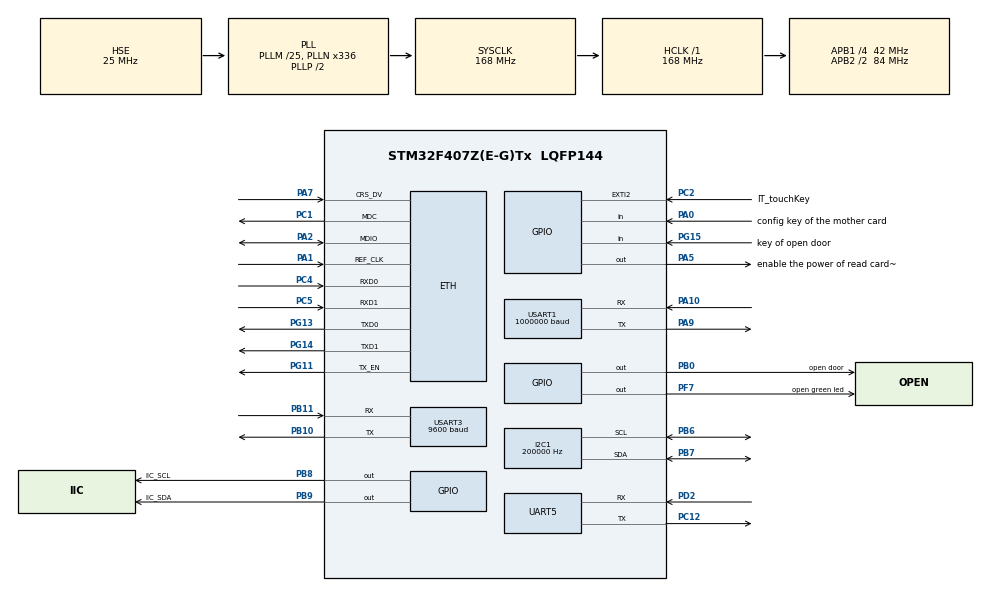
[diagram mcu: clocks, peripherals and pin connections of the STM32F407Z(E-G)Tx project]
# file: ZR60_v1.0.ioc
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Dma.Request0=UART5_RX
Dma.Request1=UART5_TX
Dma.Request2=USART3_RX
Dma.Request3=USART3_TX
Dma.UART5_RX.0.Direction=DMA_PERIPH_TO_MEMORY
Dma.UART5_RX.0.FIFOMode=DMA_FIFOMODE_DISABLE
Dma.UART5_RX.0.Instance=DMA1_Stream0
Dma.UART5_RX.0.MemDataAlignment=DMA_MDATAALIGN_BYTE
Dma.UART5_RX.0.MemInc=DMA_MINC_ENABLE
Dma.UART5_RX.0.Mode=DMA_CIRCULAR
Dma.UART5_RX.0.PeriphDataAlignment=DMA_PDATAALIGN_BYTE
Dma.UART5_RX.0.PeriphInc=DMA_PINC_DISABLE
Dma.UART5_RX.0.Priority=DMA_PRIORITY_LOW
Dma.UART5_TX.1.Direction=DMA_MEMORY_TO_PERIPH
Dma.UART5_TX.1.FIFOMode=DMA_FIFOMODE_DISABLE
Dma.UART5_TX.1.Instance=DMA1_Stream7
Dma.UART5_TX.1.MemDataAlignment=DMA_MDATAALIGN_BYTE
Dma.UART5_TX.1.MemInc=DMA_MINC_ENABLE
Dma.UART5_TX.1.Mode=DMA_NORMAL
Dma.UART5_TX.1.PeriphDataAlignment=DMA_PDATAALIGN_BYTE
Dma.UART5_TX.1.PeriphInc=DMA_PINC_DISABLE
Dma.UART5_TX.1.Priority=DMA_PRIORITY_LOW
Dma.USART3_RX.2.Direction=DMA_PERIPH_TO_MEMORY
Dma.USART3_RX.2.FIFOMode=DMA_FIFOMODE_DISABLE
Dma.USART3_RX.2.Instance=DMA1_Stream1
Dma.USART3_RX.2.MemDataAlignment=DMA_MDATAALIGN_BYTE
Dma.USART3_RX.2.MemInc=DMA_MINC_ENABLE
Dma.USART3_RX.2.Mode=DMA_CIRCULAR
Dma.USART3_RX.2.PeriphDataAlignment=DMA_PDATAALIGN_BYTE
Dma.USART3_RX.2.PeriphInc=DMA_PINC_DISABLE
Dma.USART3_RX.2.Priority=DMA_PRIORITY_LOW
Dma.USART3_TX.3.Direction=DMA_MEMORY_TO_PERIPH
Dma.USART3_TX.3.FIFOMode=DMA_FIFOMODE_DISABLE
Dma.USART3_TX.3.Instance=DMA1_Stream3
Dma.USART3_TX.3.MemDataAlignment=DMA_MDATAALIGN_BYTE
Dma.USART3_TX.3.MemInc=DMA_MINC_ENABLE
Dma.USART3_TX.3.Mode=DMA_NORMAL
Dma.USART3_TX.3.PeriphDataAlignment=DMA_PDATAALIGN_BYTE
Dma.USART3_TX.3.PeriphInc=DMA_PINC_DISABLE
Dma.USART3_TX.3.Priority=DMA_PRIORITY_LOW
ETH.MACAddr=00\:80\:E1\:A8\:EE\:01
ETH.MediaInterface=ETH_MEDIA_INTERFACE_RMII
ETH.PHY_DUPLEX_STATUS=0x0010
ETH.PHY_Name_RMII=userPHY
ETH.PHY_SPEED_STATUS=0x0004
ETH.PHY_SR=31
ETH.PHY_User_Name=LAN8720
ETH.PhyAddress=0
FREERTOS.Tasks01=lwip_task,-2,1024,StartLwipTask,Default,NULL,Dynamic,NULL,NULL;zr60_Task,0,1024,StartZr60FuncTask,Default,NULL,Dynamic,NULL,NULL;Task_5ms,1,512,Start_5msTask,Default,NULL,Dynamic,NULL,NULL;myTask05,0,512,Start_20msTask,Default,NULL,Dynamic,NULL,NULL;https_Task,0,1024,vTaskhttps,Default,NULL,Dynamic,NULL,NULL;FeedDog,3,128,vTaskFeedDog,Default,NULL,Dynamic,NULL,NULL
FREERTOS.configTOTAL_HEAP_SIZE=25360
I2C1.ClockSpeed=200000
I2C1.DutyCycle=I2C_DUTYCYCLE_16_9
I2C1.GeneralCallMode=I2C_GENERALCALL_DISABLE
I2C1.I2C_Mode=I2C_Fast
I2C1.OwnAddress=0x6E
IWDG.Prescaler=IWDG_PRESCALER_64
IWDG.Reload=625
LWIP.GATEWAY_ADDRESS=172.016.001.001
LWIP.IP_ADDRESS=172.016.001.181
LWIP.LWIP_DHCP=1
LWIP.LWIP_DNS=1
LWIP.LWIP_ICMP=1
LWIP.LWIP_IPV6=0
LWIP.LWIP_NETIF_LINK_CALLBACK=1
LWIP.LWIP_NETIF_STATUS_CALLBACK=1
LWIP.MEMP_NUM_PBUF=16
LWIP.MEMP_NUM_RAW_PCB=12
LWIP.MEMP_NUM_TCP_PCB_LISTEN=2
LWIP.MEMP_NUM_TCP_SEG=40
LWIP.MEMP_NUM_UDP_PCB=10
LWIP.MEM_SIZE=21760
LWIP.NETMASK_ADDRESS=255.255.255.000
LWIP.PBUF_POOL_BUFSIZE=1360
LWIP.PBUF_POOL_SIZE=11
LWIP.TCP_MSS=1360
LWIP.Version=v2.0.0_Cube
Mcu.Family=STM32F4
Mcu.Name=STM32F407Z(E-G)Tx
Mcu.Package=LQFP144
NVIC.DMA1_Stream0_IRQn=true\:5\:0\:false\:false\:true\:true
NVIC.DMA1_Stream1_IRQn=true\:5\:0\:false\:false\:true\:true
NVIC.DMA1_Stream3_IRQn=true\:5\:0\:false\:false\:true\:true
NVIC.DMA1_Stream7_IRQn=true\:5\:0\:false\:false\:true\:true
NVIC.ETH_IRQn=true\:5\:0\:false\:false\:true\:true
NVIC.EXTI2_IRQn=true\:6\:0\:true\:false\:true\:true
NVIC.PriorityGroup=NVIC_PRIORITYGROUP_4
NVIC.RCC_IRQn=true\:5\:0\:false\:false\:true\:true
NVIC.UART5_IRQn=true\:5\:0\:false\:false\:true\:true
NVIC.USART1_IRQn=true\:5\:0\:false\:false\:true\:true
NVIC.USART3_IRQn=true\:5\:0\:false\:false\:true\:true
PA0-WKUP.GPIO_Label=config key of the mother card
PA0-WKUP.Signal=GPIO_Input
PA1.Mode=RMII
PA1.Signal=ETH_REF_CLK
PA10.Mode=Asynchronous
PA10.Signal=USART1_RX
PA13.Mode=Serial_Wire
PA13.Signal=SYS_JTMS-SWDIO
PA14.Mode=Serial_Wire
PA14.Signal=SYS_JTCK-SWCLK
PA2.Mode=RMII
PA2.Signal=ETH_MDIO
PA5.GPIO_Label=enable the power of read card mode
PA5.GPIO_PuPd=GPIO_PULLUP
PA5.PinState=GPIO_PIN_SET
PA5.Signal=GPIO_Output
PA7.Mode=RMII
PA7.Signal=ETH_CRS_DV
PA9.Mode=Asynchronous
PA9.Signal=USART1_TX
PB0.GPIO_Label=open door
PB0.GPIO_PuPd=GPIO_PULLUP
PB0.Signal=GPIO_Output
PB10.Mode=Asynchronous
PB10.Signal=USART3_TX
PB11.Mode=Asynchronous
PB11.Signal=USART3_RX
PB6.GPIO_PuPdOD=GPIO_NOPULL
PB6.GPIO_Speed=GPIO_SPEED_FREQ_HIGH
PB6.Mode=I2C
PB6.Signal=I2C1_SCL
PB7.GPIO_PuPdOD=GPIO_NOPULL
PB7.GPIO_Speed=GPIO_SPEED_FREQ_HIGH
PB7.Mode=I2C
PB7.Signal=I2C1_SDA
PB8.GPIO_Label=IIC_SCL
PB8.GPIO_ModeDefaultOutputPP=GPIO_MODE_OUTPUT_OD
PB8.GPIO_Speed=GPIO_SPEED_FREQ_LOW
PB8.PinState=GPIO_PIN_SET
PB8.Signal=GPIO_Output
PB9.GPIO_Label=IIC_SDA
PB9.GPIO_ModeDefaultOutputPP=GPIO_MODE_OUTPUT_OD
PB9.GPIO_Speed=GPIO_SPEED_FREQ_LOW
PB9.Signal=GPIO_Output
PC1.Mode=RMII
PC1.Signal=ETH_MDC
PC12.Mode=Asynchronous
PC12.Signal=UART5_TX
PC2.GPIO_Label=IT_touchKey
PC2.GPIO_ModeDefaultEXTI=GPIO_MODE_IT_FALLING
PC2.Signal=GPXTI2
PC4.Mode=RMII
PC4.Signal=ETH_RXD0
PC5.Mode=RMII
PC5.Signal=ETH_RXD1
PD2.Mode=Asynchronous
PD2.Signal=UART5_RX
PF7.GPIO_Label=open green led
PF7.GPIO_PuPd=GPIO_PULLUP
PF7.Signal=GPIO_Output
PG11.Mode=RMII
PG11.Signal=ETH_TX_EN
PG13.Mode=RMII
PG13.Signal=ETH_TXD0
PG14.Mode=RMII
PG14.Signal=ETH_TXD1
PG15.GPIO_Label=key of open door
PG15.Signal=GPIO_Input
PH0-OSC_IN.Mode=HSE-External-Oscillator
PH0-OSC_IN.Signal=RCC_OSC_IN
PH1-OSC_OUT.Mode=HSE-External-Oscillator
PH1-OSC_OUT.Signal=RCC_OSC_OUT
ProjectManager.HeapSize=0x6800
ProjectManager.StackSize=0x2800
ProjectManager.TargetToolchain=MDK-ARM V5
RCC.48MHZClocksFreq_Value=48000000
RCC.AHBFreq_Value=168000000
RCC.APB1CLKDivider=RCC_HCLK_DIV4
RCC.APB1Freq_Value=42000000
RCC.APB1TimFreq_Value=84000000
RCC.APB2CLKDivider=RCC_HCLK_DIV2
RCC.APB2Freq_Value=84000000
RCC.APB2TimFreq_Value=168000000
RCC.CortexFreq_Value=168000000
RCC.HCLKFreq_Value=168000000
RCC.HSE_VALUE=25000000
RCC.HSI_VALUE=16000000
RCC.LSE_VALUE=32768
RCC.PLLM=25
RCC.PLLN=336
RCC.PLLQ=7
RCC.PLLSourceVirtual=RCC_PLLSOURCE_HSE
RCC.RCC_MCO1Source=RCC_MCO1SOURCE_PLLCLK
RCC.RCC_MCODiv1=RCC_MCODIV_2
RCC.SYSCLKFreq_VALUE=168000000
RCC.SYSCLKSource=RCC_SYSCLKSOURCE_PLLCLK
RCC.VCOOutputFreq_Value=336000000
RTC.Date=4
RTC.Hours=10
RTC.Minutes=21
RTC.Month=RTC_MONTH_MARCH
RTC.Seconds=0
RTC.Year=19
UART5.VirtualMode=Asynchronous
USART1.BaudRate=1000000
USART1.VirtualMode=VM_ASYNC
USART3.BaudRate=9600
USART3.VirtualMode=VM_ASYNC
VP_FREERTOS_VS_ENABLE.Mode=Enabled
VP_IWDG_VS_IWDG.Mode=IWDG_Activate
VP_LWIP_VS_Enabled.Mode=Enabled
VP_RNG_VS_RNG.Mode=RNG_Activate
VP_RTC_VS_RTC_Activate.Mode=RTC_Enabled
VP_RTC_VS_RTC_Calendar.Mode=RTC_Calendar
VP_RTC_VS_RTC_WakeUp_intern.Mode=WakeUp
board=ZR60_v1.0

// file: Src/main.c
/**
  ******************************************************************************
  * File Name          : main.c
  * Description        : Main program body
  ******************************************************************************
  * This notice applies to any and all portions of this file
  * that are not between comment pairs USER CODE BEGIN and
  * USER CODE END. Other portions of this file, whether
  * inserted by the user or by software development tools
  * are owned by their respective copyright owners.
  *
  * Copyright (c) 2019 STMicroelectronics International N.V.
  * All rights reserved.
  *
  * Redistribution and use in source and binary forms, with or without
  * modification, are permitted, provided that the following conditions are met:
  *
  * 1. Redistribution of source code must retain the above copyright notice,
  *    this list of conditions and the following disclaimer.
  * 2. Redistributions in binary form must reproduce the above copyright notice,
  *    this list of conditions and the following disclaimer in the documentation
  *    and/or other materials provided with the distribution.
  * 3. Neither the name of STMicroelectronics nor the names of other
  *    contributors to this software may be used to endorse or promote products
  *    derived from this software without specific written permission.
  * 4. This software, including modifications and/or derivative works of this
  *    software, must execute solely and exclusively on microcontroller or
  *    microprocessor devices manufactured by or for STMicroelectronics.
  * 5. Redistribution and use of this software other than as permitted under
  *    this license is void and will automatically terminate your rights under
  *    this license.
  *
  * THIS SOFTWARE IS PROVIDED BY STMICROELECTRONICS AND CONTRIBUTORS "AS IS"
  * AND ANY EXPRESS, IMPLIED OR STATUTORY WARRANTIES, INCLUDING, BUT NOT
  * LIMITED TO, THE IMPLIED WARRANTIES OF MERCHANTABILITY, FITNESS FOR A
  * PARTICULAR PURPOSE AND NON-INFRINGEMENT OF THIRD PARTY INTELLECTUAL PROPERTY
  * RIGHTS ARE DISCLAIMED TO THE FULLEST EXTENT PERMITTED BY LAW. IN NO EVENT
  * SHALL STMICROELECTRONICS OR CONTRIBUTORS BE LIABLE FOR ANY DIRECT, INDIRECT,
  * INCIDENTAL, SPECIAL, EXEMPLARY, OR CONSEQUENTIAL DAMAGES (INCLUDING, BUT NOT
  * LIMITED TO, PROCUREMENT OF SUBSTITUTE GOODS OR SERVICES; LOSS OF USE, DATA,
  * OR PROFITS; OR BUSINESS INTERRUPTION) HOWEVER CAUSED AND ON ANY THEORY OF
  * LIABILITY, WHETHER IN CONTRACT, STRICT LIABILITY, OR TORT (INCLUDING
  * NEGLIGENCE OR OTHERWISE) ARISING IN ANY WAY OUT OF THE USE OF THIS SOFTWARE,
  * EVEN IF ADVISED OF THE POSSIBILITY OF SUCH DAMAGE.
  *
  ******************************************************************************
  */
#include "main.h"
#include "stm32f4xx_hal.h"
#include "cmsis_os.h"
#include "dma.h"
#include "i2c.h"
#include "iwdg.h"
#include "lwip.h"
#include "rng.h"
#include "rtc.h"
#include "usart.h"
#include "gpio.h"

/* USER CODE BEGIN Includes */
#include "Include.h"
/* USER CODE END Includes */

/* USER CODE BEGIN PV */
/* Private variables ---------------------------------------------------------*/

/* USER CODE END PV */

void SystemClock_Config(void);
void MX_FREERTOS_Init(void);

/* USER CODE BEGIN PFP */
/* Private function prototypes -----------------------------------------------*/

/* USER CODE END PFP */

int main(void)
{

  /* MCU Configuration----------------------------------------------------------*/

  /* Reset of all peripherals, Initializes the Flash interface and the Systick. */
  HAL_Init();

  /* Configure the system clock */
  SystemClock_Config();

  /* Initialize all configured peripherals */
  MX_GPIO_Init();
  MX_DMA_Init();
  MX_USART1_UART_Init();
  MX_UART5_Init();
  MX_USART3_UART_Init();
  MX_I2C1_Init();
  MX_RTC_Init();
  MX_RNG_Init();

  /* Call init function for freertos objects (in freertos.c) */
  MX_FREERTOS_Init();

  /* Start scheduler */
  osKernelStart();

  /* We should never get here as control is now taken by the scheduler */

  /* Infinite loop */
  while (1)
  {

  /* USER CODE BEGIN 3 */
		printf("运行出错!");
		osDelay(1000);
  }
  /* USER CODE END 3 */

}

/** System Clock Configuration
*/
void SystemClock_Config(void)
{

  RCC_OscInitTypeDef RCC_OscInitStruct;
  RCC_ClkInitTypeDef RCC_ClkInitStruct;
  RCC_PeriphCLKInitTypeDef PeriphClkInitStruct;

    /**Configure the main internal regulator output voltage
    */
  __HAL_RCC_PWR_CLK_ENABLE();

  __HAL_PWR_VOLTAGESCALING_CONFIG(PWR_REGULATOR_VOLTAGE_SCALE1);

    /**Initializes the CPU, AHB and APB busses clocks
    */
  RCC_OscInitStruct.OscillatorType = RCC_OSCILLATORTYPE_LSI|RCC_OSCILLATORTYPE_HSE;
  RCC_OscInitStruct.HSEState = RCC_HSE_ON;
  RCC_OscInitStruct.LSIState = RCC_LSI_ON;
  RCC_OscInitStruct.PLL.PLLState = RCC_PLL_ON;
  RCC_OscInitStruct.PLL.PLLSource = RCC_PLLSOURCE_HSE;
  RCC_OscInitStruct.PLL.PLLM = 25;
  RCC_OscInitStruct.PLL.PLLN = 336;
  RCC_OscInitStruct.PLL.PLLP = RCC_PLLP_DIV2;
  RCC_OscInitStruct.PLL.PLLQ = 7;
  if (HAL_RCC_OscConfig(&RCC_OscInitStruct) != HAL_OK)
  {
    _Error_Handler(__FILE__, __LINE__);
  }

    /**Initializes the CPU, AHB and APB busses clocks
    */
  RCC_ClkInitStruct.ClockType = RCC_CLOCKTYPE_HCLK|RCC_CLOCKTYPE_SYSCLK
                              |RCC_CLOCKTYPE_PCLK1|RCC_CLOCKTYPE_PCLK2;
  RCC_ClkInitStruct.SYSCLKSource = RCC_SYSCLKSOURCE_PLLCLK;
  RCC_ClkInitStruct.AHBCLKDivider = RCC_SYSCLK_DIV1;
  RCC_ClkInitStruct.APB1CLKDivider = RCC_HCLK_DIV4;
  RCC_ClkInitStruct.APB2CLKDivider = RCC_HCLK_DIV2;

  if (HAL_RCC_ClockConfig(&RCC_ClkInitStruct, FLASH_LATENCY_5) != HAL_OK)
  {
    _Error_Handler(__FILE__, __LINE__);
  }

  PeriphClkInitStruct.PeriphClockSelection = RCC_PERIPHCLK_RTC;
  PeriphClkInitStruct.RTCClockSelection = RCC_RTCCLKSOURCE_LSI;
  if (HAL_RCCEx_PeriphCLKConfig(&PeriphClkInitStruct) != HAL_OK)
  {
    _Error_Handler(__FILE__, __LINE__);
  }

    /**Configure the Systick interrupt time
    */
  HAL_SYSTICK_Config(HAL_RCC_GetHCLKFreq()/1000);

    /**Configure the Systick
    */
  HAL_SYSTICK_CLKSourceConfig(SYSTICK_CLKSOURCE_HCLK);

  /* SysTick_IRQn interrupt configuration */
  HAL_NVIC_SetPriority(SysTick_IRQn, 15, 0);
}

void _Error_Handler(char * file, int line)
{
  while(1)
  {
  }
}

/************************ (C) COPYRIGHT STMicroelectronics *****END OF FILE****/

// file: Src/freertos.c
/**
  ******************************************************************************
  * File Name          : freertos.c
  * Description        : Code for freertos applications
  ******************************************************************************
  * This notice applies to any and all portions of this file
  * that are not between comment pairs USER CODE BEGIN and
  * USER CODE END. Other portions of this file, whether
  * inserted by the user or by software development tools
  * are owned by their respective copyright owners.
  *
  * Copyright (c) 2019 STMicroelectronics International N.V.
  * All rights reserved.
  *
  * Redistribution and use in source and binary forms, with or without
  * modification, are permitted, provided that the following conditions are met:
  *
  * 1. Redistribution of source code must retain the above copyright notice,
  *    this list of conditions and the following disclaimer.
  * 2. Redistributions in binary form must reproduce the above copyright notice,
  *    this list of conditions and the following disclaimer in the documentation
  *    and/or other materials provided with the distribution.
  * 3. Neither the name of STMicroelectronics nor the names of other
  *    contributors to this software may be used to endorse or promote products
  *    derived from this software without specific written permission.
  * 4. This software, including modifications and/or derivative works of this
  *    software, must execute solely and exclusively on microcontroller or
  *    microprocessor devices manufactured by or for STMicroelectronics.
  * 5. Redistribution and use of this software other than as permitted under
  *    this license is void and will automatically terminate your rights under
  *    this license.
  *
  * THIS SOFTWARE IS PROVIDED BY STMICROELECTRONICS AND CONTRIBUTORS "AS IS"
  * AND ANY EXPRESS, IMPLIED OR STATUTORY WARRANTIES, INCLUDING, BUT NOT
  * LIMITED TO, THE IMPLIED WARRANTIES OF MERCHANTABILITY, FITNESS FOR A
  * PARTICULAR PURPOSE AND NON-INFRINGEMENT OF THIRD PARTY INTELLECTUAL PROPERTY
  * RIGHTS ARE DISCLAIMED TO THE FULLEST EXTENT PERMITTED BY LAW. IN NO EVENT
  * SHALL STMICROELECTRONICS OR CONTRIBUTORS BE LIABLE FOR ANY DIRECT, INDIRECT,
  * INCIDENTAL, SPECIAL, EXEMPLARY, OR CONSEQUENTIAL DAMAGES (INCLUDING, BUT NOT
  * LIMITED TO, PROCUREMENT OF SUBSTITUTE GOODS OR SERVICES; LOSS OF USE, DATA,
  * OR PROFITS; OR BUSINESS INTERRUPTION) HOWEVER CAUSED AND ON ANY THEORY OF
  * LIABILITY, WHETHER IN CONTRACT, STRICT LIABILITY, OR TORT (INCLUDING
  * NEGLIGENCE OR OTHERWISE) ARISING IN ANY WAY OUT OF THE USE OF THIS SOFTWARE,
  * EVEN IF ADVISED OF THE POSSIBILITY OF SUCH DAMAGE.
  *
  ******************************************************************************
  */

#include "FreeRTOS.h"
#include "task.h"
#include "cmsis_os.h"

/* USER CODE BEGIN Includes */
#include "Include.h"
/* USER CODE END Includes */

osThreadId lwip_taskHandle;
osThreadId zr60_TaskHandle;
osThreadId Task_5msHandle;
osThreadId myTask05Handle;
osThreadId https_TaskHandle;
osThreadId FeedDogHandle;

void StartLwipTask(void const * argument);
void StartZr60FuncTask(void const * argument);
void Start_5msTask(void const * argument);
void Start_20msTask(void const * argument);
void vTaskhttps(void const * argument);
void vTaskFeedDog(void const * argument);

void MX_FREERTOS_Init(void); /* (MISRA C 2004 rule 8.1) */

/* USER CODE BEGIN FunctionPrototypes */
extern void MX_LWIP_Init(void);
static void get_resert_status(void);
/* USER CODE END FunctionPrototypes */

/* Hook prototypes */

/* Init FreeRTOS */

void MX_FREERTOS_Init(void) {
  /* USER CODE BEGIN Init */
  get_resert_status();
  /* USER CODE END Init */

  /* Create the thread(s) */
  /* definition and creation of lwip_task */
  osThreadDef(lwip_task, StartLwipTask, osPriorityLow, 0, 1024);
  lwip_taskHandle = osThreadCreate(osThread(lwip_task), NULL);

  /* definition and creation of zr60_Task */
  osThreadDef(zr60_Task, StartZr60FuncTask, osPriorityNormal, 0, 1024);
  zr60_TaskHandle = osThreadCreate(osThread(zr60_Task), NULL);

  /* definition and creation of Task_5ms */
  osThreadDef(Task_5ms, Start_5msTask, osPriorityAboveNormal, 0, 512);
  Task_5msHandle = osThreadCreate(osThread(Task_5ms), NULL);

  /* definition and creation of myTask05 */
  osThreadDef(myTask05, Start_20msTask, osPriorityNormal, 0, 512);
  myTask05Handle = osThreadCreate(osThread(myTask05), NULL);

  /* definition and creation of https_Task */
  osThreadDef(https_Task, vTaskhttps, osPriorityNormal, 0, 1024);
  https_TaskHandle = osThreadCreate(osThread(https_Task), NULL);

  /* definition and creation of FeedDog */
  osThreadDef(FeedDog, vTaskFeedDog, osPriorityRealtime, 0, 128);
  FeedDogHandle = osThreadCreate(osThread(FeedDog), NULL);

}

/* StartLwipTask function */
void StartLwipTask(void const * argument)
{

  /* USER CODE BEGIN StartLwipTask */
	MemIf_Init();
	InitIcUnlock_parameter();
	InitBleUnlock_parameter();
	InitDoorLockCtrl_parameter();
	/* init code for LWIP */
	MX_LWIP_Init();

	InitdhcpClient_parameter();
	InitdnsAnalysis_parameter();
	Initntpclient_Pramater();
	NetConnIf_Parameter();
	tcp_ShortConnect_parameter();
	tcp_LngConnect_Parameter();
  /* Infinite loop */
  for(;;)
  {

		TskdhcpClient_MainFunction();
		TskdnsAnalysis_MainFunction();
		Tskntpclient_MainFunction();
		tcp_LngConnect_MainFunction();
    osDelay(5);
  }
  /* USER CODE END StartLwipTask */
}

/* StartZr60FuncTask function */
void StartZr60FuncTask(void const * argument)
{
  /* USER CODE BEGIN StartZr60FuncTask */
#if 0
	MemIf_Init();
	InitIcUnlock_parameter();
	InitBleUnlock_parameter();
	InitDoorLockCtrl_parameter();
#endif
  /* Infinite loop */
  for(;;)
  {

		TskMemIf_MainFunction();
		TskIcUnlock_MainFunction();
		TskBleUnlock_MainFunction();

		TskDoorLockCtrl_MainFunction();
    osDelay(10);
  }
  /* USER CODE END StartZr60FuncTask */
}

/* Start_5msTask function */
void Start_5msTask(void const * argument)
{
  /* USER CODE BEGIN Start_5msTask */
	InitBtnFltr_Parameter();

  /* Infinite loop */
  for(;;)
  {
	TskBtnFltr_MainFunction();

    osDelay(5);
  }
  /* USER CODE END Start_5msTask */
}

/* Start_20msTask function */
void Start_20msTask(void const * argument)
{
  /* USER CODE BEGIN Start_20msTask */
	SmltIIC_Paramter();
	InitPwUnlock_parameter();
  /* Infinite loop */
  for(;;)
  {

	TskPwUnlock_MainFunction();
    osDelay(20);
  }
  /* USER CODE END Start_20msTask */
}

/* vTaskhttps function */
void vTaskhttps(void const * argument)
{
  /* USER CODE BEGIN vTaskhttps */

	/* Infinite loop */
	for(;;)
	{
		tcp_ShortConnect_MainFunction();

		osDelay(5000);
	}
  /* USER CODE END vTaskhttps */
}

/* vTaskFeedDog function */
void vTaskFeedDog(void const * argument)
{
  /* USER CODE BEGIN vTaskFeedDog */
	printf("看门狗开启....\r\n");
	/* Start the IWDG */
	MX_IWDG_Init();

  /* Infinite loop */
  for(;;)
  {
		/* Refresh IWDG: reload counter */
		if (HAL_IWDG_Refresh(&hiwdg) != HAL_OK)
		{
			/* Refresh Error */
			printf("你不按时喂狗....\r\n");
			Error_Handler();
		}

    osDelay(100);
  }
  /* USER CODE END vTaskFeedDog */
}

/* USER CODE BEGIN Application */
static void get_resert_status(void)
{
#if defined(USART_DEBUGE_PRINTF)
    if( READ_BIT(RCC->CSR, RCC_CSR_PINRSTF) != RESET)
    {
        printf("复位按键复位\n");
    }
    if( READ_BIT(RCC->CSR, RCC_CSR_BORRSTF) != RESET)
    {
        printf("低于电压阈值复位\n");
    }
    if( READ_BIT(RCC->CSR, RCC_CSR_SFTRSTF) != RESET)
    {
        printf("软件复位\n");
    }
    if( READ_BIT(RCC->CSR, RCC_CSR_IWDGRSTF) != RESET)
    {
        printf("独立看门狗复位\n");
    }
    if( READ_BIT(RCC->CSR, RCC_CSR_WWDGRSTF) != RESET)
    {
        printf("窗口看门狗复位\n");
    }
    if( READ_BIT(RCC->CSR, RCC_CSR_LPWRRSTF) != RESET)
    {
        printf("低功耗非法模式复位\n");
    }
    __HAL_RCC_CLEAR_RESET_FLAGS();
#endif
}
/* USER CODE END Application */

/************************ (C) COPYRIGHT STMicroelectronics *****END OF FILE****/
